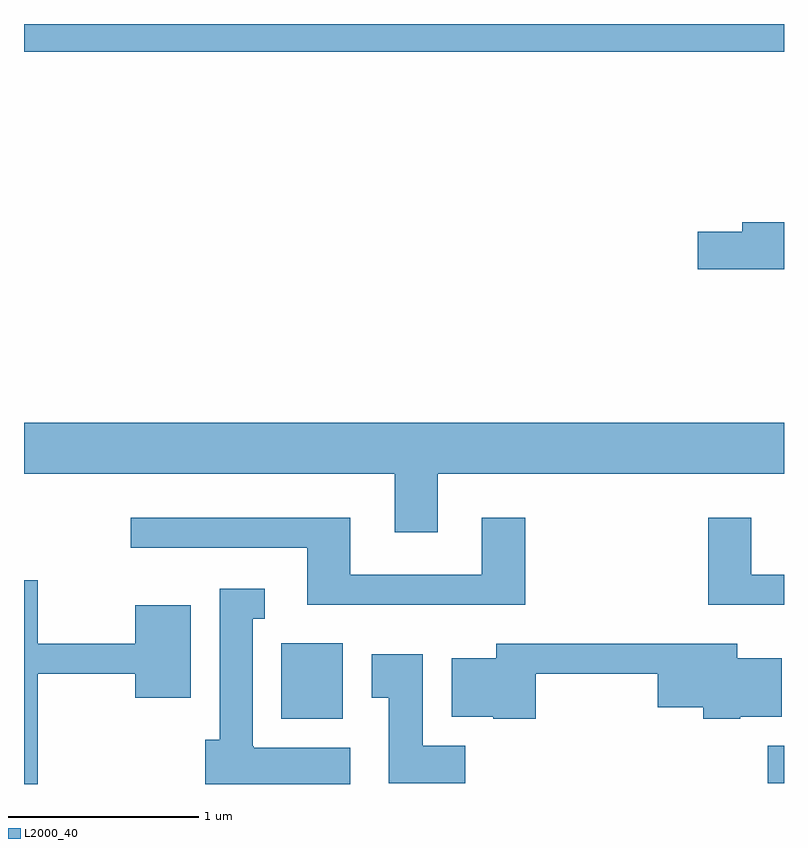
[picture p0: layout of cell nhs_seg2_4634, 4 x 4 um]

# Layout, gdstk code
import gdstk
lib = gdstk.Library(unit=1e-6, precision=1e-09)
def R(c, l, rs):  # rectangles x0, y0, x1, y1
    for r in rs: c.add(gdstk.rectangle(r[:2], r[2:], *l))
def P(c, l, *ps):  # polygons
    for p in ps: c.add(gdstk.Polygon(p, *l))
L2000_40 = (2000, 40)

nhs_seg2_4634 = lib.new_cell('nhs_seg2_4634')
R(nhs_seg2_4634, L2000_40, [(325.526,1037.806,325.611,1038.004), (322.966,1038.146,323.289,1038.544), (321.611,1041.656,325.611,1041.802)])
P(nhs_seg2_4634, L2000_40, [(325.611,1040.759),(325.391,1040.759),(325.391,1040.709),(325.156,1040.709),(325.156,1040.511),(325.611,1040.511)],
  [(323.789,1039.436),(325.611,1039.436),(325.611,1039.704),(321.611,1039.704),(321.611,1039.436),(323.561,1039.436),(323.561,1039.126),(323.789,1039.126)],
  [(324.249,1039.204),(324.021,1039.204),(324.021,1038.904),(323.329,1038.904),(323.329,1039.204),(322.173,1039.204),(322.173,1039.046),(323.101,1039.046),(323.101,1038.746),(324.249,1038.746)],
  [(325.611,1038.904),(325.439,1038.904),(325.439,1039.204),(325.211,1039.204),(325.211,1038.746),(325.611,1038.746)],
  [(321.684,1038.381),(322.196,1038.381),(322.196,1038.256),(322.489,1038.256),(322.489,1038.744),(322.196,1038.744),(322.196,1038.539),(321.684,1038.539),(321.684,1038.874),(321.611,1038.874),(321.611,1037.802),(321.684,1037.802)],
  [(323.329,1037.994),(322.82,1037.994),(322.82,1038),(322.814,1038),(322.814,1038.671),(322.878,1038.671),(322.878,1038.829),(322.641,1038.829),(322.641,1038.034),(322.566,1038.034),(322.566,1037.802),(323.329,1037.802)],
  [(324.304,1038.381),(324.946,1038.381),(324.946,1038.206),(325.186,1038.206),(325.186,1038.146),(325.38,1038.146),(325.38,1038.156),(325.599,1038.156),(325.599,1038.464),(325.364,1038.464),(325.364,1038.539),(324.096,1038.539),(324.096,1038.464),(323.861,1038.464),(323.861,1038.156),(324.08,1038.156),(324.08,1038.146),(324.304,1038.146)],
  [(323.934,1038.004),(323.709,1038.004),(323.709,1038.484),(323.441,1038.484),(323.441,1038.256),(323.531,1038.256),(323.531,1037.806),(323.934,1037.806)])

lib.write_gds('nhs_seg2_4634.gds')
